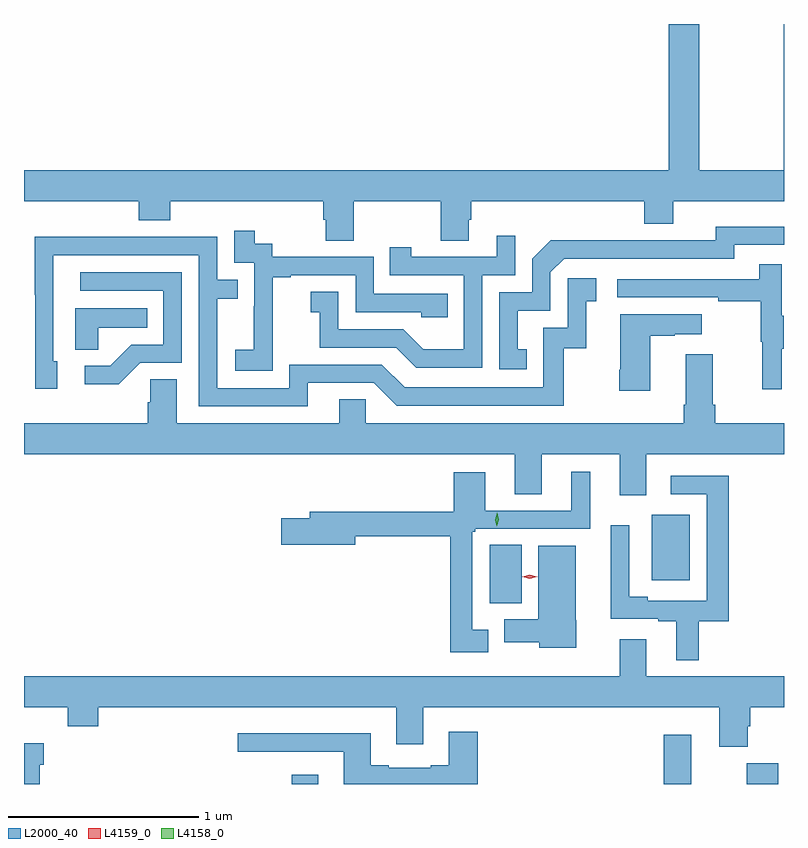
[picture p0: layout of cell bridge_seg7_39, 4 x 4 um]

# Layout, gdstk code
import gdstk
lib = gdstk.Library(unit=1e-6, precision=1e-09)
def R(c, l, rs):  # rectangles x0, y0, x1, y1
    for r in rs: c.add(gdstk.rectangle(r[:2], r[2:], *l))
def P(c, l, *ps):  # polygons
    for p in ps: c.add(gdstk.Polygon(p, *l))
L2000_40 = (2000, 40)
L4158_0 = (4158, 0)
L4159_0 = (4159, 0)

bridge_seg7_39 = lib.new_cell('bridge_seg7_39')
R(bridge_seg7_39, L2000_40, [(879.563,1041.505,879.703,1041.555), (881.522,1041.505,881.668,1041.763), (881.96,1041.505,882.124,1041.615), (880.607,1042.457,880.774,1042.763), (881.459,1042.577,881.659,1042.921)])
P(bridge_seg7_39, L2000_40, [(879.891,1044.572),(880.348,1044.572),(880.348,1044.364),(880.495,1044.364),(880.495,1044.474),(880.508,1044.474),(880.508,1044.572),(881.42,1044.572),(881.42,1044.455),(881.572,1044.455),(881.572,1044.572),(882.155,1044.572),(882.155,1045.505),(882.154,1045.505),(882.154,1044.736),(881.709,1044.736),(881.709,1045.505),(881.549,1045.505),(881.549,1044.736),(878.155,1044.736),(878.155,1044.572),(878.759,1044.572),(878.759,1044.473),(878.924,1044.473),(878.924,1044.572),(879.731,1044.572),(879.731,1044.474),(879.743,1044.474),(879.743,1044.364),(879.891,1044.364)],
  [(880.802,1043.793),(880.753,1043.793),(880.753,1043.997),(880.926,1043.997),(880.926,1044.198),(880.998,1044.27),(881.892,1044.27),(881.892,1044.342),(882.155,1044.342),(882.155,1044.439),(881.796,1044.439),(881.796,1044.366),(881.336,1044.366),(881.336,1044.368),(880.928,1044.368),(880.83,1044.27),(880.83,1044.093),(880.656,1044.093),(880.656,1043.688),(880.802,1043.688)],
  [(879.465,1043.887),(879.464,1043.887),(879.464,1044.171),(879.559,1044.171),(879.559,1044.183),(879.9,1044.183),(879.9,1043.988),(880.245,1043.988),(880.245,1043.961),(880.385,1043.961),(880.385,1044.084),(879.996,1044.084),(879.996,1044.279),(879.462,1044.279),(879.462,1044.348),(879.37,1044.348),(879.37,1044.418),(879.261,1044.418),(879.261,1044.249),(879.366,1044.249),(879.366,1044.02),(879.365,1044.02),(879.365,1043.791),(879.267,1043.791),(879.267,1043.681),(879.465,1043.681)],
  [(880.566,1044.183),(880.74,1044.183),(880.74,1044.391),(880.643,1044.391),(880.643,1044.279),(880.192,1044.279),(880.192,1044.331),(880.081,1044.331),(880.081,1044.183),(880.47,1044.183),(880.47,1043.794),(880.256,1043.794),(880.152,1043.898),(879.81,1043.898),(879.81,1044.097),(879.663,1044.097),(879.663,1043.987),(879.712,1043.987),(879.712,1043.802),(880.115,1043.802),(880.22,1043.697),(880.566,1043.697)],
  [(879.649,1043.616),(879.996,1043.616),(880.116,1043.496),(880.996,1043.496),(880.996,1043.799),(881.114,1043.799),(881.114,1044.045),(881.167,1044.045),(881.167,1044.166),(881.016,1044.166),(881.016,1043.907),(880.887,1043.907),(880.887,1043.592),(880.158,1043.592),(880.038,1043.712),(879.552,1043.712),(879.552,1043.589),(879.171,1043.589),(879.171,1044.058),(879.281,1044.058),(879.281,1044.159),(879.171,1044.159),(879.171,1044.384),(878.675,1044.384),(878.675,1044.386),(878.212,1044.386),(878.212,1044.079),(878.214,1044.079),(878.214,1043.586),(878.329,1043.586),(878.329,1043.73),(878.31,1043.73),(878.31,1044.288),(879.075,1044.288),(879.075,1043.493),(879.649,1043.493)],
  [(882.143,1043.795),(882.154,1043.795),(882.154,1043.969),(882.143,1043.969),(882.143,1044.241),(882.025,1044.241),(882.025,1044.162),(881.277,1044.162),(881.277,1044.066),(881.809,1044.066),(881.809,1044.046),(882.033,1044.046),(882.033,1043.832),(882.04,1043.832),(882.04,1043.583),(882.143,1043.583)],
  [(878.766,1043.721),(878.985,1043.721),(878.985,1044.198),(878.451,1044.198),(878.451,1044.102),(878.889,1044.102),(878.889,1043.817),(878.72,1043.817),(878.609,1043.706),(878.475,1043.706),(878.475,1043.609),(878.653,1043.609)],
  [(878.547,1043.906),(878.804,1043.906),(878.804,1044.01),(878.426,1044.01),(878.426,1043.791),(878.547,1043.791)],
  [(881.452,1043.863),(881.579,1043.863),(881.579,1043.873),(881.722,1043.873),(881.722,1043.977),(881.294,1043.977),(881.294,1043.686),(881.287,1043.686),(881.287,1043.574),(881.452,1043.574)],
  [(881.431,1043.24),(882.155,1043.24),(882.155,1043.404),(881.792,1043.404),(881.792,1043.5),(881.779,1043.5),(881.779,1043.767),(881.639,1043.767),(881.639,1043.5),(881.627,1043.5),(881.627,1043.404),(879.954,1043.404),(879.954,1043.531),(879.815,1043.531),(879.815,1043.404),(878.959,1043.404),(878.959,1043.636),(878.82,1043.636),(878.82,1043.513),(878.807,1043.513),(878.807,1043.404),(878.155,1043.404),(878.155,1043.24),(880.739,1043.24),(880.739,1043.029),(880.879,1043.029),(880.879,1043.24),(881.291,1043.24),(881.291,1043.025),(881.431,1043.025)],
  [(880.598,1042.318),(880.515,1042.318),(880.515,1042.833),(880.53,1042.833),(880.53,1042.848),(881.134,1042.848),(881.134,1043.149),(881.036,1043.149),(881.036,1042.944),(880.582,1042.944),(880.582,1043.146),(880.418,1043.146),(880.418,1042.939),(879.659,1042.939),(879.659,1042.905),(879.51,1042.905),(879.51,1042.763),(879.898,1042.763),(879.898,1042.81),(880.399,1042.81),(880.399,1042.199),(880.598,1042.199)],
  [(881.705,1042.362),(881.864,1042.362),(881.864,1043.127),(881.559,1043.127),(881.559,1043.031),(881.748,1043.031),(881.748,1042.47),(881.437,1042.47),(881.437,1042.49),(881.34,1042.49),(881.34,1042.867),(881.243,1042.867),(881.243,1042.374),(881.492,1042.374),(881.492,1042.362),(881.588,1042.362),(881.588,1042.157),(881.705,1042.157)],
  [(881.062,1042.368),(881.059,1042.368),(881.059,1042.759),(880.862,1042.759),(880.862,1042.372),(880.683,1042.372),(880.683,1042.25),(880.866,1042.25),(880.866,1042.223),(881.062,1042.223)],
  [(881.965,1041.809),(881.978,1041.809),(881.978,1041.908),(882.155,1041.908),(882.155,1042.072),(881.431,1042.072),(881.431,1042.267),(881.291,1042.267),(881.291,1042.072),(878.155,1042.072),(878.155,1041.908),(878.386,1041.908),(878.386,1041.809),(878.546,1041.809),(878.546,1041.908),(880.115,1041.908),(880.115,1041.714),(880.255,1041.714),(880.255,1041.908),(881.813,1041.908),(881.813,1041.7),(881.965,1041.7)],
  [(880.544,1041.781),(880.391,1041.781),(880.391,1041.603),(880.295,1041.603),(880.295,1041.591),(880.075,1041.591),(880.075,1041.603),(879.979,1041.603),(879.979,1041.772),(879.279,1041.772),(879.279,1041.675),(879.839,1041.675),(879.839,1041.505),(880.544,1041.505)],
  [(878.239,1041.606),(878.258,1041.606),(878.258,1041.72),(878.155,1041.72),(878.155,1041.505),(878.239,1041.505)])
P(bridge_seg7_39, L4158_0, [(880.644,1042.861),(880.644,1042.861),(880.634,1042.897),(880.645,1042.933),(880.645,1042.933),(880.645,1042.933),(880.654,1042.897),(880.644,1042.861)])
P(bridge_seg7_39, L4159_0, [(880.817,1042.586),(880.778,1042.596),(880.778,1042.596),(880.778,1042.596),(880.817,1042.606),(880.857,1042.596),(880.857,1042.596),(880.857,1042.596)])

lib.write_gds('bridge_seg7_39.gds')
